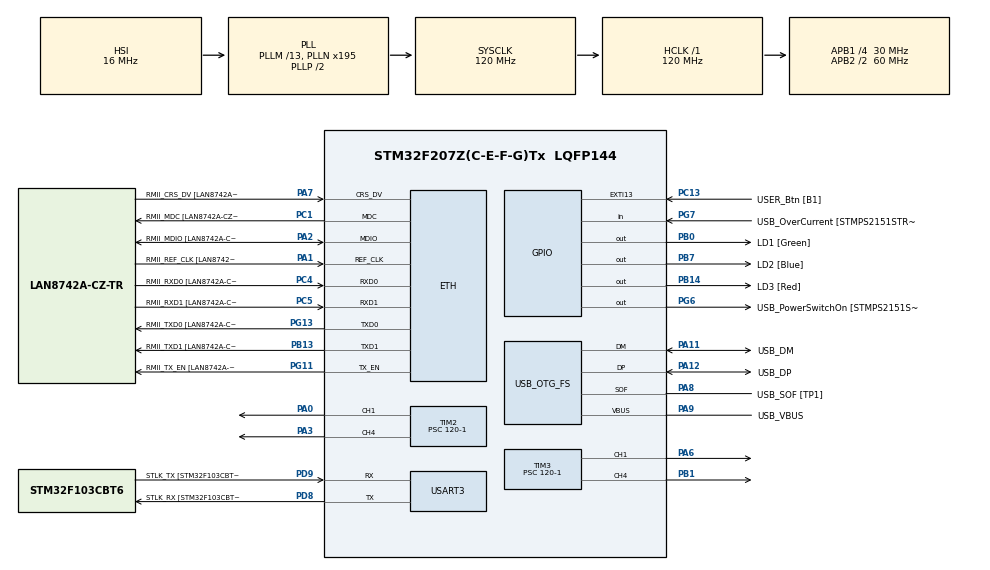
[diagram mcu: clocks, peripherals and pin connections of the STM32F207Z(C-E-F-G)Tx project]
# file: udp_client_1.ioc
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ETH.MediaInterface=ETH_MEDIA_INTERFACE_RMII
ETH.PHY_Name=LAN8742A_PHY_ADDRESS
ETH.PHY_Value=0
ETH.PhyAddress=0
LWIP.GATEWAY_ADDRESS=192.168.001.002
LWIP.IP_ADDRESS=192.168.001.247
LWIP.LWIP_DHCP=0
LWIP.MEM_SIZE=10*1024
LWIP.NETMASK_ADDRESS=255.255.255.000
LWIP.Version=v2.0.3_Cube
Mcu.Family=STM32F2
Mcu.Name=STM32F207Z(C-E-F-G)Tx
Mcu.Package=LQFP144
NVIC.ETH_IRQn=true\:0\:0\:false\:false\:true\:true\:true\:true
NVIC.PriorityGroup=NVIC_PRIORITYGROUP_4
NVIC.TIM1_UP_TIM10_IRQn=true\:0\:0\:false\:false\:true\:true\:true\:true
PA0-WKUP.Signal=S_TIM2_CH1_ETR
PA1.GPIO_Label=RMII_REF_CLK [LAN8742A-CZ-TR_REFCLK0]
PA1.Mode=RMII
PA1.Signal=ETH_REF_CLK
PA10.GPIO_Label=USB_ID
PA10.Signal=USB_OTG_FS_ID
PA11.GPIO_Label=USB_DM
PA11.Mode=Device_Only
PA11.Signal=USB_OTG_FS_DM
PA12.GPIO_Label=USB_DP
PA12.Mode=Device_Only
PA12.Signal=USB_OTG_FS_DP
PA13.GPIO_Label=TMS
PA13.Mode=Serial_Wire
PA13.Signal=SYS_JTMS-SWDIO
PA14.GPIO_Label=TCK
PA14.Mode=Serial_Wire
PA14.Signal=SYS_JTCK-SWCLK
PA2.GPIO_Label=RMII_MDIO [LAN8742A-CZ-TR_MDIO]
PA2.Mode=RMII
PA2.Signal=ETH_MDIO
PA3.Signal=S_TIM2_CH4
PA6.Signal=S_TIM3_CH1
PA7.GPIO_Label=RMII_CRS_DV [LAN8742A-CZ-TR_CRS_DV]
PA7.Mode=RMII
PA7.Signal=ETH_CRS_DV
PA8.GPIO_Label=USB_SOF [TP1]
PA8.Mode=Activate_SOF_FS
PA8.Signal=USB_OTG_FS_SOF
PA9.GPIO_Label=USB_VBUS
PA9.Mode=Activate_VBUS
PA9.Signal=USB_OTG_FS_VBUS
PB0.GPIO_Label=LD1 [Green]
PB0.Signal=GPIO_Output
PB1.Signal=S_TIM3_CH4
PB13.GPIO_Label=RMII_TXD1 [LAN8742A-CZ-TR_TXD1]
PB13.Mode=RMII
PB13.Signal=ETH_TXD1
PB14.GPIO_Label=LD3 [Red]
PB14.Signal=GPIO_Output
PB3.GPIO_Label=SWO
PB3.Signal=SYS_JTDO-SWO
PB7.GPIO_Label=LD2 [Blue]
PB7.Signal=GPIO_Output
PC1.GPIO_Label=RMII_MDC [LAN8742A-CZ-TR_MDC]
PC1.Mode=RMII
PC1.Signal=ETH_MDC
PC13.GPIO_Label=USER_Btn [B1]
PC13.Signal=GPXTI13
PC14-OSC32_IN.Mode=LSE-External-Oscillator
PC14-OSC32_IN.Signal=RCC_OSC32_IN
PC15-OSC32_OUT.Mode=LSE-External-Oscillator
PC15-OSC32_OUT.Signal=RCC_OSC32_OUT
PC4.GPIO_Label=RMII_RXD0 [LAN8742A-CZ-TR_RXD0]
PC4.Mode=RMII
PC4.Signal=ETH_RXD0
PC5.GPIO_Label=RMII_RXD1 [LAN8742A-CZ-TR_RXD1]
PC5.Mode=RMII
PC5.Signal=ETH_RXD1
PD8.GPIO_Label=STLK_RX [STM32F103CBT6_PA2]
PD8.Mode=Asynchronous
PD8.Signal=USART3_TX
PD9.GPIO_Label=STLK_TX [STM32F103CBT6_PA3]
PD9.Mode=Asynchronous
PD9.Signal=USART3_RX
PG11.GPIO_Label=RMII_TX_EN [LAN8742A-CZ-TR_TXEN]
PG11.Mode=RMII
PG11.Signal=ETH_TX_EN
PG13.GPIO_Label=RMII_TXD0 [LAN8742A-CZ-TR_TXD0]
PG13.Mode=RMII
PG13.Signal=ETH_TXD0
PG6.GPIO_Label=USB_PowerSwitchOn [STMPS2151STR_EN]
PG6.Signal=GPIO_Output
PG7.GPIO_Label=USB_OverCurrent [STMPS2151STR_FAULT]
PG7.Signal=GPIO_Input
PH0-OSC_IN.GPIO_Label=MCO [STM32F103CBT6_PA8]
PH0-OSC_IN.Mode=HSE-External-Clock-Source
PH0-OSC_IN.Signal=RCC_OSC_IN
PH1-OSC_OUT.Mode=HSE-External-Clock-Source
PH1-OSC_OUT.Signal=RCC_OSC_OUT
ProjectManager.HeapSize=0x200
ProjectManager.StackSize=0x400
ProjectManager.TargetToolchain=STM32CubeIDE
RCC.48MHZClocksFreq_Value=48000000
RCC.AHBFreq_Value=120000000
RCC.APB1CLKDivider=RCC_HCLK_DIV4
RCC.APB1Freq_Value=30000000
RCC.APB1TimFreq_Value=60000000
RCC.APB2CLKDivider=RCC_HCLK_DIV2
RCC.APB2Freq_Value=60000000
RCC.APB2TimFreq_Value=120000000
RCC.CortexFreq_Value=120000000
RCC.HCLKFreq_Value=120000000
RCC.HSE_VALUE=8000000
RCC.HSI_VALUE=16000000
RCC.PLLM=13
RCC.PLLMUL=RCC_PLL_MUL9
RCC.PLLN=195
RCC.PLLQ=5
RCC.PRESCALERUSB=RCC_USBCLKSOURCE_PLL_DIV1_5
RCC.SYSCLKFreq_VALUE=120000000
RCC.SYSCLKSource=RCC_SYSCLKSOURCE_PLLCLK
RCC.SYSCLKSourceVirtual=RCC_SYSCLKSOURCE_PLLCLK
RCC.USBFreq_Value=48000000
RCC.VCOOutputFreq_Value=240000000
SH.S_TIM2_CH1_ETR.0=TIM2_CH1,PWM Generation1 CH1
SH.S_TIM2_CH4.0=TIM2_CH4,PWM Generation4 CH4
SH.S_TIM3_CH1.0=TIM3_CH1,PWM Generation1 CH1
SH.S_TIM3_CH4.0=TIM3_CH4,PWM Generation4 CH4
TIM1.Period=1000-1
TIM1.Prescaler=24000-1
TIM2.Channel-PWM\ Generation1\ CH1=TIM_CHANNEL_1
TIM2.Channel-PWM\ Generation4\ CH4=TIM_CHANNEL_4
TIM2.Period=1000-1
TIM2.Prescaler=120-1
TIM3.Channel-PWM\ Generation1\ CH1=TIM_CHANNEL_1
TIM3.Channel-PWM\ Generation4\ CH4=TIM_CHANNEL_4
TIM3.Period=1000-1
TIM3.Prescaler=120-1
USART3.VirtualMode=VM_ASYNC
USB_OTG_FS.VirtualMode=Device_Only
VP_LWIP_VS_Enabled.Mode=Enabled
VP_TIM1_VS_ClockSourceINT.Mode=Internal
board=NUCLEO-F207ZG

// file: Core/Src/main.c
/* USER CODE BEGIN Header */
/**
  ******************************************************************************
  * @file           : main.c
  * @brief          : Main program body
  ******************************************************************************
  * @attention
  *
  * Copyright (c) 2025 STMicroelectronics.
  * All rights reserved.
  *
  * This software is licensed under terms that can be found in the LICENSE file
  * in the root directory of this software component.
  * If no LICENSE file comes with this software, it is provided AS-IS.
  *
  ******************************************************************************
  */
/* USER CODE END Header */
#include "main.h"
#include "lwip.h"

TIM_HandleTypeDef htim1;
TIM_HandleTypeDef htim2;
TIM_HandleTypeDef htim3;

UART_HandleTypeDef huart3;

PCD_HandleTypeDef hpcd_USB_OTG_FS;

/* USER CODE BEGIN PV */
extern volatile int32_t g_pwm_value1;
extern volatile int32_t g_pwm_value2;
extern volatile int32_t g_pwm_value3;
extern volatile int32_t g_pwm_value4;

/* USER CODE END PV */

void SystemClock_Config(void);
static void MX_GPIO_Init(void);
static void MX_USART3_UART_Init(void);
static void MX_USB_OTG_FS_PCD_Init(void);
static void MX_TIM1_Init(void);
static void MX_TIM2_Init(void);
static void MX_TIM3_Init(void);

int main(void)
{

  /* MCU Configuration--------------------------------------------------------*/

  /* Reset of all peripherals, Initializes the Flash interface and the Systick. */
  HAL_Init();

  /* Configure the system clock */
  SystemClock_Config();

  /* Initialize all configured peripherals */
  MX_GPIO_Init();
  MX_USART3_UART_Init();
  MX_USB_OTG_FS_PCD_Init();
  MX_TIM1_Init();
  MX_LWIP_Init();
  MX_TIM2_Init();
  MX_TIM3_Init();
  /* USER CODE BEGIN 2 */
  HAL_TIM_Base_Start_IT(&htim1);
  udpClient_connect();

  HAL_TIM_PWM_Start(&htim2, TIM_CHANNEL_1); // Motor 1
  HAL_TIM_PWM_Start(&htim2, TIM_CHANNEL_4); // Motor 2
  HAL_TIM_PWM_Start(&htim3, TIM_CHANNEL_1); // Motor 3
  HAL_TIM_PWM_Start(&htim3, TIM_CHANNEL_4); // Motor 4  /* USER CODE END 2 */

  /* Infinite loop */
  /* USER CODE BEGIN WHILE */
  uint32_t current_pwm_value1 = 0;
  uint32_t current_pwm_value2 = 0;
  uint32_t current_pwm_value3 = 0;
  uint32_t current_pwm_value4 = 0;

  while (1)
  {
	  MX_LWIP_Process();
    /* USER CODE END WHILE */

    /* USER CODE BEGIN 3 */
	    // ---------- MOTOR 1 ----------
	    if (current_pwm_value1 != g_pwm_value1)
	    {
	        current_pwm_value1 = g_pwm_value1;
	        __HAL_TIM_SET_COMPARE(&htim2, TIM_CHANNEL_1, current_pwm_value1);
	        printf("Motor 1 PWM updated to: %lu\n", current_pwm_value1);
	    }

	    // ---------- MOTOR 2 ----------
	    if (current_pwm_value2 != g_pwm_value2)
	    {
	        current_pwm_value2 = g_pwm_value2;
	        __HAL_TIM_SET_COMPARE(&htim2, TIM_CHANNEL_4, current_pwm_value2);
	        printf("Motor 2 PWM updated to: %lu\n", current_pwm_value2);
	    }

	    // ---------- MOTOR 3 ----------
	    if (current_pwm_value3 != g_pwm_value3)
	    {
	        current_pwm_value3 = g_pwm_value3;
	        __HAL_TIM_SET_COMPARE(&htim3, TIM_CHANNEL_1, current_pwm_value3);
	        printf("Motor 3 PWM updated to: %lu\n", current_pwm_value3);
	    }

	    // ---------- MOTOR 4 ----------
	    if (current_pwm_value4 != g_pwm_value4)
	    {
	        current_pwm_value4 = g_pwm_value4;
	        __HAL_TIM_SET_COMPARE(&htim3, TIM_CHANNEL_4, current_pwm_value4);
	        printf("Motor 4 PWM updated to: %lu\n", current_pwm_value4);
	    }
  }
  /* USER CODE END 3 */
}

void SystemClock_Config(void)
{
  RCC_OscInitTypeDef RCC_OscInitStruct = {0};
  RCC_ClkInitTypeDef RCC_ClkInitStruct = {0};

  /** Initializes the RCC Oscillators according to the specified parameters
  * in the RCC_OscInitTypeDef structure.
  */
  RCC_OscInitStruct.OscillatorType = RCC_OSCILLATORTYPE_HSI;
  RCC_OscInitStruct.HSIState = RCC_HSI_ON;
  RCC_OscInitStruct.HSICalibrationValue = RCC_HSICALIBRATION_DEFAULT;
  RCC_OscInitStruct.PLL.PLLState = RCC_PLL_ON;
  RCC_OscInitStruct.PLL.PLLSource = RCC_PLLSOURCE_HSI;
  RCC_OscInitStruct.PLL.PLLM = 13;
  RCC_OscInitStruct.PLL.PLLN = 195;
  RCC_OscInitStruct.PLL.PLLP = RCC_PLLP_DIV2;
  RCC_OscInitStruct.PLL.PLLQ = 5;
  if (HAL_RCC_OscConfig(&RCC_OscInitStruct) != HAL_OK)
  {
    Error_Handler();
  }

  /** Initializes the CPU, AHB and APB buses clocks
  */
  RCC_ClkInitStruct.ClockType = RCC_CLOCKTYPE_HCLK|RCC_CLOCKTYPE_SYSCLK
                              |RCC_CLOCKTYPE_PCLK1|RCC_CLOCKTYPE_PCLK2;
  RCC_ClkInitStruct.SYSCLKSource = RCC_SYSCLKSOURCE_PLLCLK;
  RCC_ClkInitStruct.AHBCLKDivider = RCC_SYSCLK_DIV1;
  RCC_ClkInitStruct.APB1CLKDivider = RCC_HCLK_DIV4;
  RCC_ClkInitStruct.APB2CLKDivider = RCC_HCLK_DIV2;

  if (HAL_RCC_ClockConfig(&RCC_ClkInitStruct, FLASH_LATENCY_3) != HAL_OK)
  {
    Error_Handler();
  }
}

static void MX_TIM1_Init(void)
{

  TIM_ClockConfigTypeDef sClockSourceConfig = {0};
  TIM_MasterConfigTypeDef sMasterConfig = {0};

  htim1.Instance = TIM1;
  htim1.Init.Prescaler = 24000-1;
  htim1.Init.CounterMode = TIM_COUNTERMODE_UP;
  htim1.Init.Period = 1000-1;
  htim1.Init.ClockDivision = TIM_CLOCKDIVISION_DIV1;
  htim1.Init.RepetitionCounter = 0;
  htim1.Init.AutoReloadPreload = TIM_AUTORELOAD_PRELOAD_DISABLE;
  if (HAL_TIM_Base_Init(&htim1) != HAL_OK)
  {
    Error_Handler();
  }
  sClockSourceConfig.ClockSource = TIM_CLOCKSOURCE_INTERNAL;
  if (HAL_TIM_ConfigClockSource(&htim1, &sClockSourceConfig) != HAL_OK)
  {
    Error_Handler();
  }
  sMasterConfig.MasterOutputTrigger = TIM_TRGO_RESET;
  sMasterConfig.MasterSlaveMode = TIM_MASTERSLAVEMODE_DISABLE;
  if (HAL_TIMEx_MasterConfigSynchronization(&htim1, &sMasterConfig) != HAL_OK)
  {
    Error_Handler();
  }

}

static void MX_TIM2_Init(void)
{

  TIM_MasterConfigTypeDef sMasterConfig = {0};
  TIM_OC_InitTypeDef sConfigOC = {0};

  htim2.Instance = TIM2;
  htim2.Init.Prescaler = 120-1;
  htim2.Init.CounterMode = TIM_COUNTERMODE_UP;
  htim2.Init.Period = 1000-1;
  htim2.Init.ClockDivision = TIM_CLOCKDIVISION_DIV1;
  htim2.Init.AutoReloadPreload = TIM_AUTORELOAD_PRELOAD_DISABLE;
  if (HAL_TIM_PWM_Init(&htim2) != HAL_OK)
  {
    Error_Handler();
  }
  sMasterConfig.MasterOutputTrigger = TIM_TRGO_RESET;
  sMasterConfig.MasterSlaveMode = TIM_MASTERSLAVEMODE_DISABLE;
  if (HAL_TIMEx_MasterConfigSynchronization(&htim2, &sMasterConfig) != HAL_OK)
  {
    Error_Handler();
  }
  sConfigOC.OCMode = TIM_OCMODE_PWM1;
  sConfigOC.Pulse = 0;
  sConfigOC.OCPolarity = TIM_OCPOLARITY_HIGH;
  sConfigOC.OCFastMode = TIM_OCFAST_DISABLE;
  if (HAL_TIM_PWM_ConfigChannel(&htim2, &sConfigOC, TIM_CHANNEL_1) != HAL_OK)
  {
    Error_Handler();
  }
  if (HAL_TIM_PWM_ConfigChannel(&htim2, &sConfigOC, TIM_CHANNEL_4) != HAL_OK)
  {
    Error_Handler();
  }
  HAL_TIM_MspPostInit(&htim2);

}

static void MX_TIM3_Init(void)
{

  TIM_MasterConfigTypeDef sMasterConfig = {0};
  TIM_OC_InitTypeDef sConfigOC = {0};

  htim3.Instance = TIM3;
  htim3.Init.Prescaler = 120-1;
  htim3.Init.CounterMode = TIM_COUNTERMODE_UP;
  htim3.Init.Period = 1000-1;
  htim3.Init.ClockDivision = TIM_CLOCKDIVISION_DIV1;
  htim3.Init.AutoReloadPreload = TIM_AUTORELOAD_PRELOAD_DISABLE;
  if (HAL_TIM_PWM_Init(&htim3) != HAL_OK)
  {
    Error_Handler();
  }
  sMasterConfig.MasterOutputTrigger = TIM_TRGO_RESET;
  sMasterConfig.MasterSlaveMode = TIM_MASTERSLAVEMODE_DISABLE;
  if (HAL_TIMEx_MasterConfigSynchronization(&htim3, &sMasterConfig) != HAL_OK)
  {
    Error_Handler();
  }
  sConfigOC.OCMode = TIM_OCMODE_PWM1;
  sConfigOC.Pulse = 0;
  sConfigOC.OCPolarity = TIM_OCPOLARITY_HIGH;
  sConfigOC.OCFastMode = TIM_OCFAST_DISABLE;
  if (HAL_TIM_PWM_ConfigChannel(&htim3, &sConfigOC, TIM_CHANNEL_1) != HAL_OK)
  {
    Error_Handler();
  }
  if (HAL_TIM_PWM_ConfigChannel(&htim3, &sConfigOC, TIM_CHANNEL_4) != HAL_OK)
  {
    Error_Handler();
  }
  HAL_TIM_MspPostInit(&htim3);

}

static void MX_USART3_UART_Init(void)
{

  huart3.Instance = USART3;
  huart3.Init.BaudRate = 115200;
  huart3.Init.WordLength = UART_WORDLENGTH_8B;
  huart3.Init.StopBits = UART_STOPBITS_1;
  huart3.Init.Parity = UART_PARITY_NONE;
  huart3.Init.Mode = UART_MODE_TX_RX;
  huart3.Init.HwFlowCtl = UART_HWCONTROL_NONE;
  huart3.Init.OverSampling = UART_OVERSAMPLING_16;
  if (HAL_UART_Init(&huart3) != HAL_OK)
  {
    Error_Handler();
  }

}

static void MX_USB_OTG_FS_PCD_Init(void)
{

  hpcd_USB_OTG_FS.Instance = USB_OTG_FS;
  hpcd_USB_OTG_FS.Init.dev_endpoints = 4;
  hpcd_USB_OTG_FS.Init.speed = PCD_SPEED_FULL;
  hpcd_USB_OTG_FS.Init.dma_enable = DISABLE;
  hpcd_USB_OTG_FS.Init.phy_itface = PCD_PHY_EMBEDDED;
  hpcd_USB_OTG_FS.Init.Sof_enable = ENABLE;
  hpcd_USB_OTG_FS.Init.low_power_enable = DISABLE;
  hpcd_USB_OTG_FS.Init.vbus_sensing_enable = ENABLE;
  hpcd_USB_OTG_FS.Init.use_dedicated_ep1 = DISABLE;
  if (HAL_PCD_Init(&hpcd_USB_OTG_FS) != HAL_OK)
  {
    Error_Handler();
  }

}

static void MX_GPIO_Init(void)
{
  GPIO_InitTypeDef GPIO_InitStruct = {0};

  /* GPIO Ports Clock Enable */
  __HAL_RCC_GPIOC_CLK_ENABLE();
  __HAL_RCC_GPIOH_CLK_ENABLE();
  __HAL_RCC_GPIOA_CLK_ENABLE();
  __HAL_RCC_GPIOB_CLK_ENABLE();
  __HAL_RCC_GPIOD_CLK_ENABLE();
  __HAL_RCC_GPIOG_CLK_ENABLE();

  /*Configure GPIO pin Output Level */
  HAL_GPIO_WritePin(GPIOB, LD1_Pin|LD3_Pin|LD2_Pin, GPIO_PIN_RESET);

  /*Configure GPIO pin Output Level */
  HAL_GPIO_WritePin(USB_PowerSwitchOn_GPIO_Port, USB_PowerSwitchOn_Pin, GPIO_PIN_RESET);

  /*Configure GPIO pin : USER_Btn_Pin */
  GPIO_InitStruct.Pin = USER_Btn_Pin;
  GPIO_InitStruct.Mode = GPIO_MODE_IT_RISING;
  GPIO_InitStruct.Pull = GPIO_NOPULL;
  HAL_GPIO_Init(USER_Btn_GPIO_Port, &GPIO_InitStruct);

  /*Configure GPIO pins : LD1_Pin LD3_Pin LD2_Pin */
  GPIO_InitStruct.Pin = LD1_Pin|LD3_Pin|LD2_Pin;
  GPIO_InitStruct.Mode = GPIO_MODE_OUTPUT_PP;
  GPIO_InitStruct.Pull = GPIO_NOPULL;
  GPIO_InitStruct.Speed = GPIO_SPEED_FREQ_LOW;
  HAL_GPIO_Init(GPIOB, &GPIO_InitStruct);

  /*Configure GPIO pin : USB_PowerSwitchOn_Pin */
  GPIO_InitStruct.Pin = USB_PowerSwitchOn_Pin;
  GPIO_InitStruct.Mode = GPIO_MODE_OUTPUT_PP;
  GPIO_InitStruct.Pull = GPIO_NOPULL;
  GPIO_InitStruct.Speed = GPIO_SPEED_FREQ_LOW;
  HAL_GPIO_Init(USB_PowerSwitchOn_GPIO_Port, &GPIO_InitStruct);

  /*Configure GPIO pin : USB_OverCurrent_Pin */
  GPIO_InitStruct.Pin = USB_OverCurrent_Pin;
  GPIO_InitStruct.Mode = GPIO_MODE_INPUT;
  GPIO_InitStruct.Pull = GPIO_NOPULL;
  HAL_GPIO_Init(USB_OverCurrent_GPIO_Port, &GPIO_InitStruct);

}

void Error_Handler(void)
{
  __disable_irq();
  while (1)
  {
  }
}
